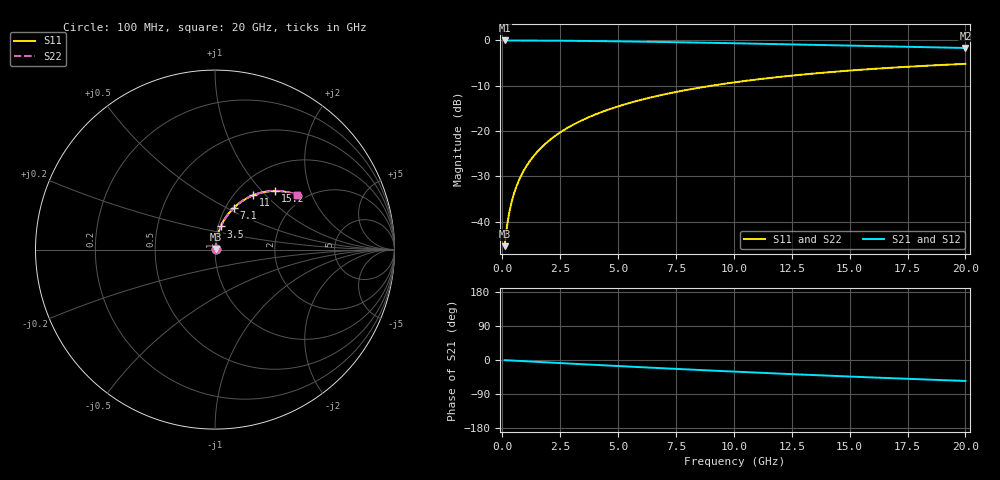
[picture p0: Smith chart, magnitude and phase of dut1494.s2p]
! Touchstone file exported from HFSS 2026.1.0
!  File:  C:/ffzhzh/LocalFiles/Ansys_Project_Files/temp_train_BSMRDL_1494_1783181572_43440.aedt
!  Generated:  12:14:18 AM Jul  5, 2026
!  Design:  BSMRDL
!  Project:  temp_train_BSMRDL_1494_1783181572_43440
! Variables:
!  h_bsmrdl = 4.82um
!  h_ox = 20um
!  h_rdl = 5um
!  h_sub = 80um
!  h_tmrdl = 5um
!  h_tsv = 80um
!  h_via = 3um
!  l_bsmrdl = 801.68um
!  l_sub = 1201.68um
!  l_tmrdl = 200um
!  m_sub = 200um
!  pitch = 57.85um
!  r_tsv = 6um
!  s_tmrdl = 10um
!  w_bsmrdl = 17.51um
!  w_sub = 500um
!  w_tmrdl = 12um
!  x_tsv_center1 = 206um
!  x_tsv_center2 = 1025.19um
!  x_tsv_center3 = 1237.19um
!  x_tsv_center4 = 2056.38um
!  x_tsv_center5 = 2268.38um
!  x_tsv_center6 = 3087.57um
# GHz S MA R 50.000000
! Terminal data exported
! Port[1] = BSM_RDL1_1_T1
! Port[2] = BSM_RDL1_1_T2
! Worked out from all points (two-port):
!   200 points, 100 MHz to 20 GHz, reference 50 ohm
!   highest |S21| = -0.03 dB at 100 MHz (marker M1); lowest = -1.7 dB at 20 GHz (marker M2)
!   |S21| within 3 dB of the highest: start of sweep to end of sweep
!   lowest |S11| = -45.4 dB at 100 MHz (marker M3), VSWR 1.01, Z = 50.3 + j0.409 ohm
!   |S11| at or under -10 dB: start of sweep to 9.061 GHz
!   |S22| runs from -45.4 to -5.2 dB; largest |S21 - S12| = 2.6e-15
!   S11 on the Smith chart (normalised r, x): 100 MHz: 1.01, +0.01; 3.5 GHz: 1.03, +0.27; 7.1 GHz: 1.09, +0.55; 11 GHz: 1.21, +0.85; 15.2 GHz: 1.42, +1.19; 20 GHz: 1.81, +1.58
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0.1  0.005347 49.4  0.9965 -0.3  0.9965 -0.3  0.005347 49.4
! Gamma 0 0 0 0
! Port Impedance 50 0 50 0
0.2  0.008841 65.4  0.9964 -0.7  0.9964 -0.7  0.008841 65.4
0.3  0.01257 71.8  0.9962 -1.0  0.9962 -1.0  0.01257 71.8
0.4  0.01634 75.1  0.996 -1.3  0.996 -1.3  0.01634 75.1
0.5  0.02014 77.1  0.9959 -1.7  0.9959 -1.7  0.02014 77.1
0.7  0.02777 79.3  0.9956 -2.3  0.9956 -2.3  0.02777 79.3
1  0.03926 80.5  0.995 -3.3  0.995 -3.3  0.03926 80.5
1.4  0.05458 80.7  0.9941 -4.6  0.9941 -4.6  0.05458 80.7
2  0.07744 79.9  0.9921 -6.5  0.9921 -6.5  0.07744 79.9
2.7  0.1038 78.2  0.9891 -8.8  0.9891 -8.8  0.1038 78.2
3.5  0.1332 76.0  0.9849 -11.3  0.9849 -11.3  0.1332 76.0
4.2  0.1585 74.0  0.9805 -13.5  0.9805 -13.5  0.1585 74.0
5  0.1866 71.7  0.9748 -16.0  0.9748 -16.0  0.1866 71.7
6.8  0.2468 66.5  0.96 -21.4  0.96 -21.4  0.2468 66.5
7.1  0.2564 65.6  0.9573 -22.3  0.9573 -22.3  0.2564 65.7
8.5  0.2997 61.7  0.944 -26.4  0.944 -26.4  0.2997 61.7
10.1  0.3457 57.3  0.9276 -30.9  0.9276 -30.9  0.3457 57.4
11  0.37 54.9  0.918 -33.3  0.918 -33.3  0.37 55.0
13.4  0.4289 48.8  0.8918 -39.7  0.8918 -39.7  0.4289 48.8
15.2  0.4676 44.4  0.8721 -44.2  0.8721 -44.2  0.4676 44.4
16.7  0.4965 40.8  0.8561 -47.8  0.8561 -47.8  0.4965 40.9
20  0.5499 33.5  0.8232 -55.3  0.8232 -55.3  0.5499 33.6
